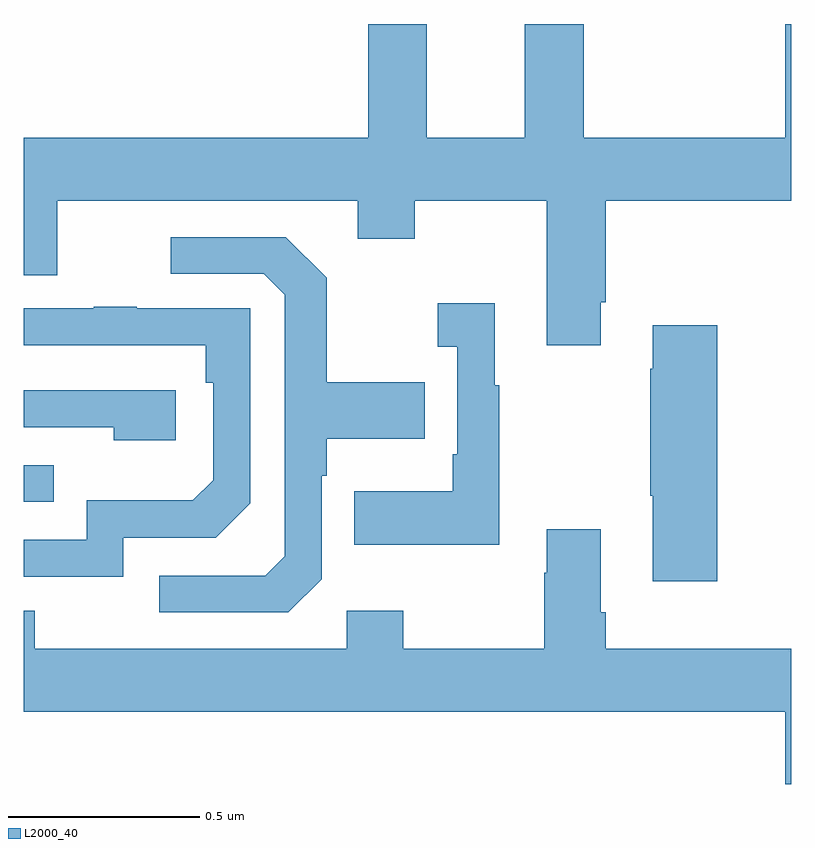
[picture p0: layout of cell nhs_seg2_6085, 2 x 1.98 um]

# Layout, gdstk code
import gdstk
lib = gdstk.Library(unit=1e-6, precision=1e-09)
def R(c, l, rs):  # rectangles x0, y0, x1, y1
    for r in rs: c.add(gdstk.rectangle(r[:2], r[2:], *l))
def P(c, l, *ps):  # polygons
    for p in ps: c.add(gdstk.Polygon(p, *l))
L2000_40 = (2000, 40)

nhs_seg2_6085 = lib.new_cell('nhs_seg2_6085')
R(nhs_seg2_6085, L2000_40, [(187,609.555,187.079,609.651)])
P(nhs_seg2_6085, L2000_40, [(188.306,610.8),(188.306,610.504),(188.05,610.504),(188.05,610.8),(187.898,610.8),(187.898,610.504),(187,610.504),(187,610.146),(187.087,610.146),(187.087,610.34),(187.871,610.34),(187.871,610.241),(188.019,610.241),(188.019,610.34),(188.363,610.34),(188.363,609.963),(188.503,609.963),(188.503,610.075),(188.516,610.075),(188.516,610.34),(189,610.34),(189,610.8),(188.984,610.8),(188.984,610.504),(188.459,610.504),(188.459,610.8)],
  [(187.776,609.354),(187.776,609.623),(187.789,609.623),(187.789,609.719),(188.045,609.719),(188.045,609.867),(187.789,609.867),(187.789,610.139),(187.683,610.245),(187.383,610.245),(187.383,610.149),(187.626,610.149),(187.68,610.095),(187.68,609.414),(187.629,609.363),(187.353,609.363),(187.353,609.267),(187.689,609.267)],
  [(188.239,609.859),(188.227,609.859),(188.227,610.072),(188.079,610.072),(188.079,609.959),(188.13,609.959),(188.13,609.679),(188.118,609.679),(188.118,609.583),(187.861,609.583),(187.861,609.443),(188.239,609.443)],
  [(187.26,609.462),(187.5,609.462),(187.59,609.552),(187.59,610.059),(187.295,610.059),(187.295,610.064),(187.183,610.064),(187.183,610.059),(187,610.059),(187,609.963),(187.474,609.963),(187.474,609.866),(187.494,609.866),(187.494,609.612),(187.441,609.559),(187.164,609.559),(187.164,609.456),(187,609.456),(187,609.36),(187.26,609.36)],
  [(188.807,610.015),(188.639,610.015),(188.639,609.902),(188.632,609.902),(188.632,609.571),(188.639,609.571),(188.639,609.348),(188.807,609.348)],
  [(187.396,609.846),(187,609.846),(187,609.75),(187.235,609.75),(187.235,609.716),(187.396,609.716)],
  [(189,609.172),(188.516,609.172),(188.516,609.268),(188.503,609.268),(188.503,609.484),(188.363,609.484),(188.363,609.371),(188.356,609.371),(188.356,609.172),(187.989,609.172),(187.989,609.271),(187.842,609.271),(187.842,609.172),(187.029,609.172),(187.029,609.271),(187,609.271),(187,609.008),(188.984,609.008),(188.984,608.82),(189,608.82)])

lib.write_gds('nhs_seg2_6085.gds')
